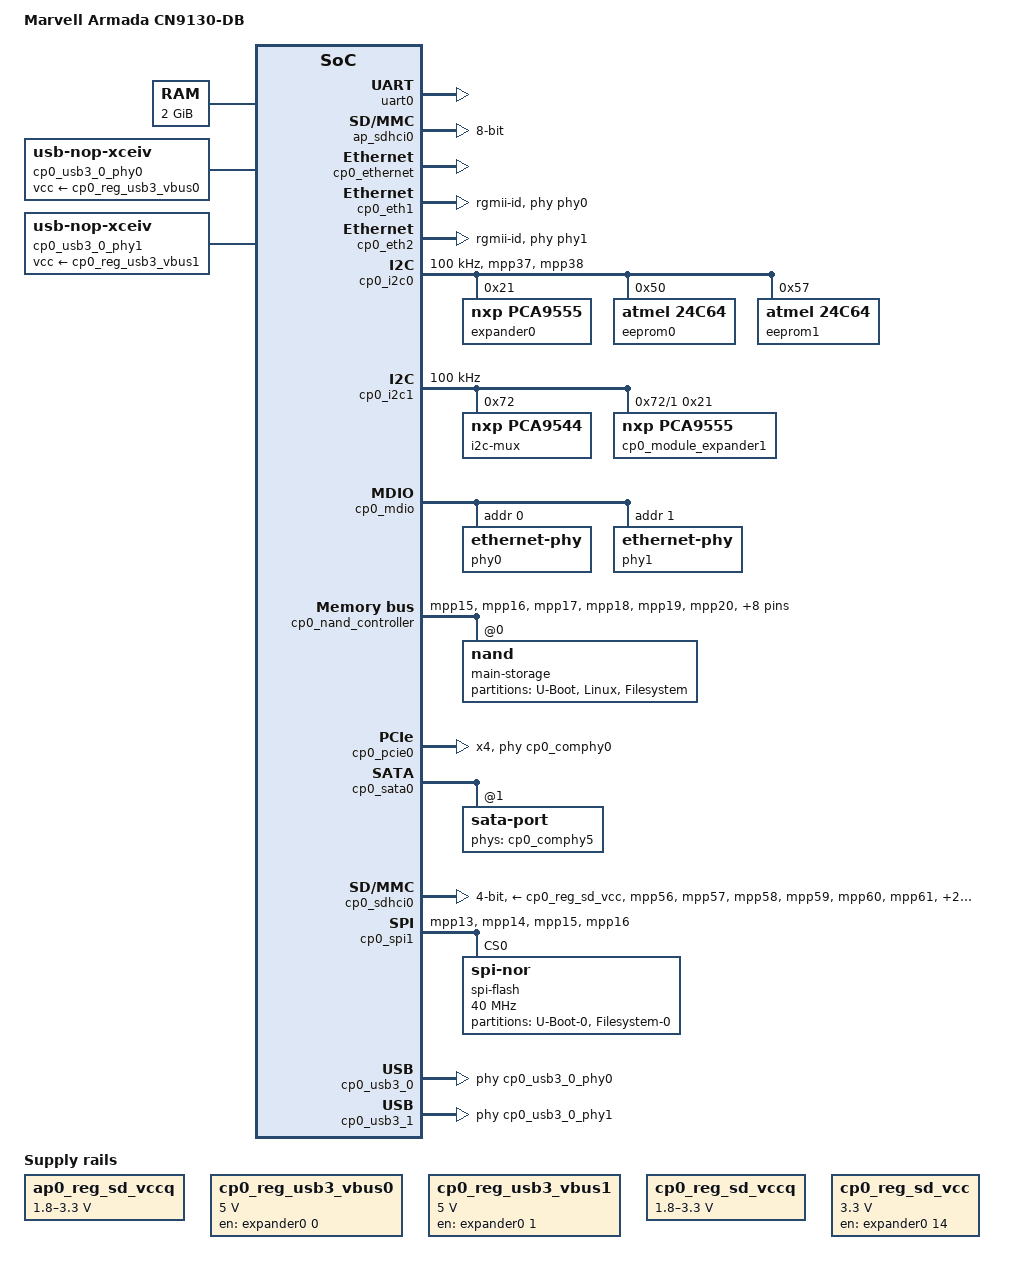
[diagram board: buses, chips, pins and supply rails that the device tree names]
// SPDX-License-Identifier: (GPL-2.0+ OR MIT)
/*
 * Copyright (C) 2019 Marvell International Ltd.
 *
 * Device tree for the CN9130-DB board.
 */

#include "cn9130.dtsi"

#include <dt-bindings/gpio/gpio.h>

/ {
	model = "Marvell Armada CN9130-DB";

	chosen {
		stdout-path = "serial0:115200n8";
	};

	aliases {
		gpio1 = &cp0_gpio1;
		gpio2 = &cp0_gpio2;
		i2c0 = &cp0_i2c0;
		ethernet0 = &cp0_eth0;
		ethernet1 = &cp0_eth1;
		ethernet2 = &cp0_eth2;
		spi1 = &cp0_spi0;
		spi2 = &cp0_spi1;
	};

	memory@00000000 {
		device_type = "memory";
		reg = <0x0 0x0 0x0 0x80000000>;
	};

	ap0_reg_sd_vccq: ap0_sd_vccq@0 {
		compatible = "regulator-gpio";
		regulator-name = "ap0_sd_vccq";
		regulator-min-microvolt = <1800000>;
		regulator-max-microvolt = <3300000>;
		gpios = <&expander0 8 GPIO_ACTIVE_HIGH>;
		states = <1800000 0x1 3300000 0x0>;
	};

	cp0_reg_usb3_vbus0: cp0_usb3_vbus@0 {
		compatible = "regulator-fixed";
		regulator-name = "cp0-xhci0-vbus";
		regulator-min-microvolt = <5000000>;
		regulator-max-microvolt = <5000000>;
		enable-active-high;
		gpio = <&expander0 0 GPIO_ACTIVE_HIGH>;
	};

	cp0_usb3_0_phy0: cp0_usb3_phy@0 {
		compatible = "usb-nop-xceiv";
		vcc-supply = <&cp0_reg_usb3_vbus0>;
	};

	cp0_reg_usb3_vbus1: cp0_usb3_vbus@1 {
		compatible = "regulator-fixed";
		regulator-name = "cp0-xhci1-vbus";
		regulator-min-microvolt = <5000000>;
		regulator-max-microvolt = <5000000>;
		enable-active-high;
		gpio = <&expander0 1 GPIO_ACTIVE_HIGH>;
	};

	cp0_usb3_0_phy1: cp0_usb3_phy@1 {
		compatible = "usb-nop-xceiv";
		vcc-supply = <&cp0_reg_usb3_vbus1>;
	};

	cp0_reg_sd_vccq: cp0_sd_vccq@0 {
		compatible = "regulator-gpio";
		regulator-name = "cp0_sd_vccq";
		regulator-min-microvolt = <1800000>;
		regulator-max-microvolt = <3300000>;
		gpios = <&expander0 15 GPIO_ACTIVE_HIGH>;
		states = <1800000 0x1
			  3300000 0x0>;
	};

	cp0_reg_sd_vcc: cp0_sd_vcc@0 {
		compatible = "regulator-fixed";
		regulator-name = "cp0_sd_vcc";
		regulator-min-microvolt = <3300000>;
		regulator-max-microvolt = <3300000>;
		gpio = <&expander0 14 GPIO_ACTIVE_HIGH>;
		enable-active-high;
		regulator-always-on;
	};

	cp0_sfp_eth0: sfp-eth@0 {
		compatible = "sff,sfp";
		i2c-bus = <&cp0_sfpp0_i2c>;
		los-gpio = <&cp0_module_expander1 11 GPIO_ACTIVE_HIGH>;
		mod-def0-gpio = <&cp0_module_expander1 10 GPIO_ACTIVE_LOW>;
		tx-disable-gpio = <&cp0_module_expander1 9 GPIO_ACTIVE_HIGH>;
		tx-fault-gpio = <&cp0_module_expander1 8 GPIO_ACTIVE_HIGH>;
		/*
		 * SFP cages are unconnected on early PCBs because of an the I2C
		 * lanes not being connected. Prevent the port for being
		 * unusable by disabling the SFP node.
		 */
		status = "disabled";
	};
};

&uart0 {
	status = "okay";
};

/* on-board eMMC - U9 */
&ap_sdhci0 {
	pinctrl-names = "default";
	bus-width = <8>;
	vqmmc-supply = <&ap0_reg_sd_vccq>;
	status = "okay";
};

&cp0_crypto {
	status = "disabled";
};

&cp0_ethernet {
	status = "okay";
};

/* SLM-1521-V2, CON9 */
&cp0_eth0 {
	status = "disabled";
	phy-mode = "10gbase-kr";
	/* Generic PHY, providing serdes lanes */
	phys = <&cp0_comphy4 0>;
	managed = "in-band-status";
	sfp = <&cp0_sfp_eth0>;
};

/* CON56 */
&cp0_eth1 {
	status = "okay";
	phy = <&phy0>;
	phy-mode = "rgmii-id";
};

/* CON57 */
&cp0_eth2 {
	status = "okay";
	phy = <&phy1>;
	phy-mode = "rgmii-id";
};

&cp0_gpio1 {
	status = "okay";
};

&cp0_gpio2 {
	status = "okay";
};

&cp0_i2c0 {
	status = "okay";
	pinctrl-names = "default";
	pinctrl-0 = <&cp0_i2c0_pins>;
	clock-frequency = <100000>;

	/* U36 */
	expander0: pca953x@21 {
		compatible = "nxp,pca9555";
		pinctrl-names = "default";
		gpio-controller;
		#gpio-cells = <2>;
		reg = <0x21>;
		status = "okay";
	};

	/* U42 */
	eeprom0: eeprom@50 {
		compatible = "atmel,24c64";
		reg = <0x50>;
		pagesize = <0x20>;
	};

	/* U38 */
	eeprom1: eeprom@57 {
		compatible = "atmel,24c64";
		reg = <0x57>;
		pagesize = <0x20>;
	};
};

&cp0_i2c1 {
	status = "okay";
	clock-frequency = <100000>;

	/* SLM-1521-V2 - U3 */
	i2c-mux@72 { /* verify address - depends on dpr */
		compatible = "nxp,pca9544";
		#address-cells = <1>;
		#size-cells = <0>;
		reg = <0x72>;
		cp0_sfpp0_i2c: i2c@0 {
			#address-cells = <1>;
			#size-cells = <0>;
			reg = <0>;
		};

		i2c@1 {
			#address-cells = <1>;
			#size-cells = <0>;
			reg = <1>;
			/* U12 */
			cp0_module_expander1: pca9555@21 {
				compatible = "nxp,pca9555";
				pinctrl-names = "default";
				gpio-controller;
				#gpio-cells = <2>;
				reg = <0x21>;
			};

		};
	};
};

&cp0_mdio {
	status = "okay";

	phy0: ethernet-phy@0 {
		reg = <0>;
	};

	phy1: ethernet-phy@1 {
		reg = <1>;
	};
};

/* U54 */
&cp0_nand_controller {
	pinctrl-names = "default";
	pinctrl-0 = <&nand_pins &nand_rb>;

	nand@0 {
		reg = <0>;
		label = "main-storage";
		nand-rb = <0>;
		nand-ecc-mode = "hw";
		nand-on-flash-bbt;
		nand-ecc-strength = <8>;
		nand-ecc-step-size = <512>;

		partitions {
			compatible = "fixed-partitions";
			#address-cells = <1>;
			#size-cells = <1>;

			partition@0 {
				label = "U-Boot";
				reg = <0 0x200000>;
			};
			partition@200000 {
				label = "Linux";
				reg = <0x200000 0xd00000>;
			};
			partition@1000000 {
				label = "Filesystem";
				reg = <0x1000000 0x3f000000>;
			};
		};
	};
};

/* SLM-1521-V2, CON6 */
&cp0_pcie0 {
	status = "okay";
	num-lanes = <4>;
	num-viewport = <8>;
	/* Generic PHY, providing serdes lanes */
	phys = <&cp0_comphy0 0
		&cp0_comphy1 0
		&cp0_comphy2 0
		&cp0_comphy3 0>;
};

&cp0_sata0 {
	status = "okay";

	/* SLM-1521-V2, CON2 */
	sata-port@1 {
		status = "okay";
		/* Generic PHY, providing serdes lanes */
		phys = <&cp0_comphy5 1>;
	};
};

/* CON 28 */
&cp0_sdhci0 {
	status = "okay";
	pinctrl-names = "default";
	pinctrl-0 = <&cp0_sdhci_pins
		     &cp0_sdhci_cd_pins>;
	bus-width = <4>;
	cd-gpios = <&cp0_gpio2 11 GPIO_ACTIVE_LOW>;
	no-1-8-v;
	vqmmc-supply = <&cp0_reg_sd_vccq>;
	vmmc-supply = <&cp0_reg_sd_vcc>;
};

/* U55 */
&cp0_spi1 {
	status = "okay";
	pinctrl-names = "default";
	pinctrl-0 = <&cp0_spi0_pins>;
	reg = <0x700680 0x50>;

	spi-flash@0 {
		#address-cells = <0x1>;
		#size-cells = <0x1>;
		compatible = "jedec,spi-nor";
		reg = <0x0>;
		/* On-board MUX does not allow higher frequencies */
		spi-max-frequency = <40000000>;

		partitions {
			compatible = "fixed-partitions";
			#address-cells = <1>;
			#size-cells = <1>;

			partition@0 {
				label = "U-Boot-0";
				reg = <0x0 0x200000>;
			};

			partition@400000 {
				label = "Filesystem-0";
				reg = <0x200000 0xe00000>;
			};
		};
	};
};

&cp0_syscon0 {
	cp0_pinctrl: pinctrl {
		compatible = "marvell,cp115-standalone-pinctrl";

		cp0_i2c0_pins: cp0-i2c-pins-0 {
			marvell,pins = "mpp37", "mpp38";
			marvell,function = "i2c0";
		};
		cp0_i2c1_pins: cp0-i2c-pins-1 {
			marvell,pins = "mpp35", "mpp36";
			marvell,function = "i2c1";
		};
		cp0_ge1_rgmii_pins: cp0-ge-rgmii-pins-0 {
			marvell,pins = "mpp0", "mpp1", "mpp2",
				       "mpp3", "mpp4", "mpp5",
				       "mpp6", "mpp7", "mpp8",
				       "mpp9", "mpp10", "mpp11";
			marvell,function = "ge0";
		};
		cp0_ge2_rgmii_pins: cp0-ge-rgmii-pins-1 {
			marvell,pins = "mpp44", "mpp45", "mpp46",
				       "mpp47", "mpp48", "mpp49",
				       "mpp50", "mpp51", "mpp52",
				       "mpp53", "mpp54", "mpp55";
			marvell,function = "ge1";
		};
		cp0_sdhci_cd_pins: cp0-sdhci-cd-pins-0 {
			marvell,pins = "mpp43";
			marvell,function = "gpio";
		};
		cp0_sdhci_pins: cp0-sdhi-pins-0 {
			marvell,pins = "mpp56", "mpp57", "mpp58",
				       "mpp59", "mpp60", "mpp61";
			marvell,function = "sdio";
		};
		cp0_spi0_pins: cp0-spi-pins-0 {
			marvell,pins = "mpp13", "mpp14", "mpp15", "mpp16";
			marvell,function = "spi1";
		};
		nand_pins: nand-pins {
			marvell,pins = "mpp15", "mpp16", "mpp17", "mpp18",
				       "mpp19", "mpp20", "mpp21", "mpp22",
				       "mpp23", "mpp24", "mpp25", "mpp26",
				       "mpp27";
			marvell,function = "dev";
		};
		nand_rb: nand-rb {
			marvell,pins = "mpp13";
			marvell,function = "nf";
		};
	};
};

&cp0_usb3_0 {
	status = "okay";
	usb-phy = <&cp0_usb3_0_phy0>;
	phy-names = "usb";
};

&cp0_usb3_1 {
	status = "okay";
	usb-phy = <&cp0_usb3_0_phy1>;
	phy-names = "usb";
};
